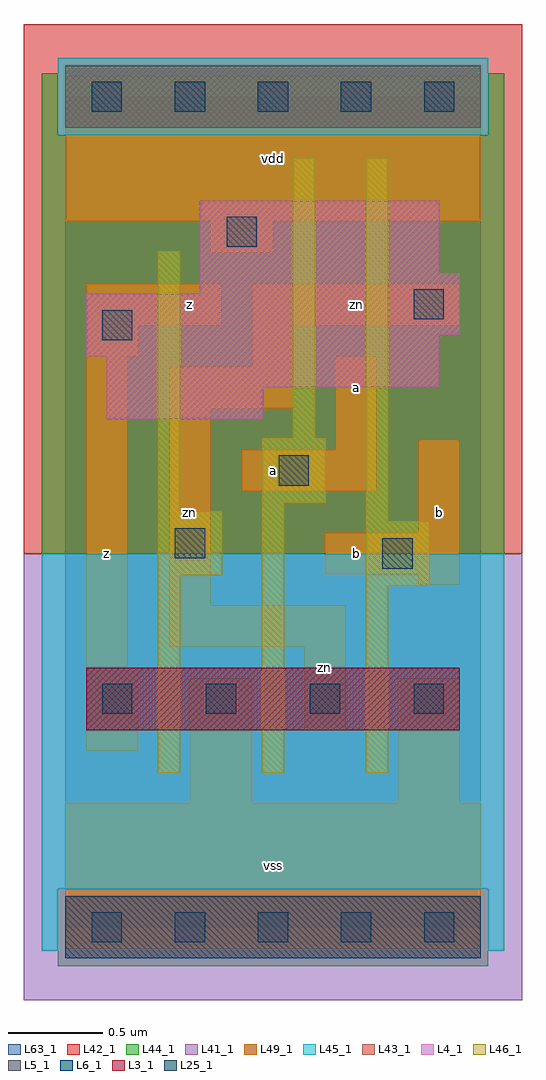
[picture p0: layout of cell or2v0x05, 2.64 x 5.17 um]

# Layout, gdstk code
import gdstk
lib = gdstk.Library(unit=1e-6, precision=1e-09)
def R(c, l, rs):  # rectangles x0, y0, x1, y1
    for r in rs: c.add(gdstk.rectangle(r[:2], r[2:], *l))
def A(c, l, x, y, w, h, nx, ny, dx, dy):  # array of equal rectangles
    R(c, l, [(x+i*dx, y+j*dy, x+i*dx+w, y+j*dy+h) for i in range(nx) for j in range(ny)])
L3_1 = (3, 1)
L4_1 = (4, 1)
L5_1 = (5, 1)
L6_1 = (6, 1)
L25_1 = (25, 1)
L41_1 = (41, 1)
L42_1 = (42, 1)
L43_1 = (43, 1)
L44_1 = (44, 1)
L45_1 = (45, 1)
L46_1 = (46, 1)
L49_1 = (49, 1)
L63_1 = (63, 1)

or2v0x05 = lib.new_cell('or2v0x05')
R(or2v0x05, L3_1, [(0.11,1.045,2.09,1.375)])
R(or2v0x05, L4_1, [(0.22,2.695,1.045,2.86), (0.22,2.86,1.98,3.025), (0.11,3.025,1.98,3.135), (0.11,3.135,2.09,3.355), (0.715,3.355,2.09,3.465), (0.715,3.465,1.98,3.85)])
R(or2v0x05, L5_1, [(0,4.235,2.2,4.565)])
R(or2v0x05, L6_1, [(0,-0.165,2.2,0.165)])
A(or2v0x05, L25_1, 0.14, -0.08, 0.16, 0.16, 5, 2, 0.44, 4.4)
A(or2v0x05, L25_1, 0.195, 1.13, 0.16, 0.16, 4, 1, 0.55, 0)
R(or2v0x05, L25_1, [(1.68,1.9,1.84,2.06), (0.58,1.955,0.74,2.115), (1.13,2.34,1.29,2.5), (0.195,3.11,0.355,3.27), (1.845,3.22,2.005,3.38), (0.855,3.605,1.015,3.765)])
R(or2v0x05, L41_1, [(-0.22,-0.385,2.42,1.98)])
R(or2v0x05, L42_1, [(-0.22,1.98,2.42,4.785)])
R(or2v0x05, L43_1, [(0,-0.165,2.2,0.165), (0.11,1.045,2.09,1.375), (0.22,2.695,1.045,2.86), (0.22,2.86,1.98,3.025), (0.11,3.025,1.98,3.135), (0.11,3.135,2.09,3.355), (0.715,3.355,2.09,3.465), (0.715,3.465,1.98,3.85), (0,4.235,2.2,4.565)])
R(or2v0x05, L44_1, [(-0.04,-0.205,2.24,0.205), (-0.125,1.98,2.325,4.195), (-0.125,4.195,-0.04,4.525), (2.24,4.195,2.325,4.525)])
R(or2v0x05, L45_1, [(-0.125,-0.125,-0.04,0.205), (2.24,-0.125,2.325,0.205), (-0.125,0.205,2.325,1.98), (-0.04,4.195,2.24,4.605)])
R(or2v0x05, L46_1, [(0.49,0.82,0.61,1.865), (1.04,0.82,1.16,2.25), (1.59,0.82,1.71,1.81), (1.59,1.81,1.93,2.15), (0.49,1.865,0.83,2.205), (1.59,2.15,1.71,4.075), (0.49,2.205,0.61,3.58), (1.04,2.25,1.38,2.59), (1.205,2.59,1.325,4.075)])
R(or2v0x05, L49_1, [(0,-0.11,2.2,0.66), (0.66,0.66,0.99,1.32), (1.76,0.66,2.09,1.32), (0.11,0.935,0.385,1.375), (1.265,1.045,1.485,1.485), (0.11,1.375,0.33,3.025), (0.55,1.485,1.485,1.705), (0.55,1.705,0.77,2.75), (1.87,1.815,2.09,1.87), (1.375,1.87,2.09,2.09), (1.87,2.09,2.09,2.585), (0.935,2.31,1.65,2.53), (1.43,2.53,1.65,3.025), (0.55,2.75,1.21,2.97), (0.99,2.97,1.21,3.19), (0.11,3.025,0.385,3.19), (0.11,3.19,0.825,3.41), (0.99,3.19,2.09,3.41), (0.77,3.575,1.1,3.74), (0,3.74,2.2,4.51)])
R(or2v0x05, L63_1, [(0,0,2.2,4.4)])
or2v0x05.add(gdstk.Label('z', (0.22,1.98), layer=49, texttype=1))
or2v0x05.add(gdstk.Label('zn', (0.66,2.2), layer=49, texttype=1))
or2v0x05.add(gdstk.Label('z', (0.66,3.3), layer=49, texttype=1))
or2v0x05.add(gdstk.Label('vss', (1.1,0.33), layer=49, texttype=1))
or2v0x05.add(gdstk.Label('zn', (1.375,1.375), layer=49, texttype=1))
or2v0x05.add(gdstk.Label('b', (1.54,1.98), layer=49, texttype=1))
or2v0x05.add(gdstk.Label('a', (1.1,2.42), layer=49, texttype=1))
or2v0x05.add(gdstk.Label('a', (1.54,2.86), layer=49, texttype=1))
or2v0x05.add(gdstk.Label('vdd', (1.1,4.07), layer=49, texttype=1))
or2v0x05.add(gdstk.Label('b', (1.98,2.2), layer=49, texttype=1))
or2v0x05.add(gdstk.Label('zn', (1.54,3.3), layer=49, texttype=1))

lib.write_gds('or2v0x05.gds')
